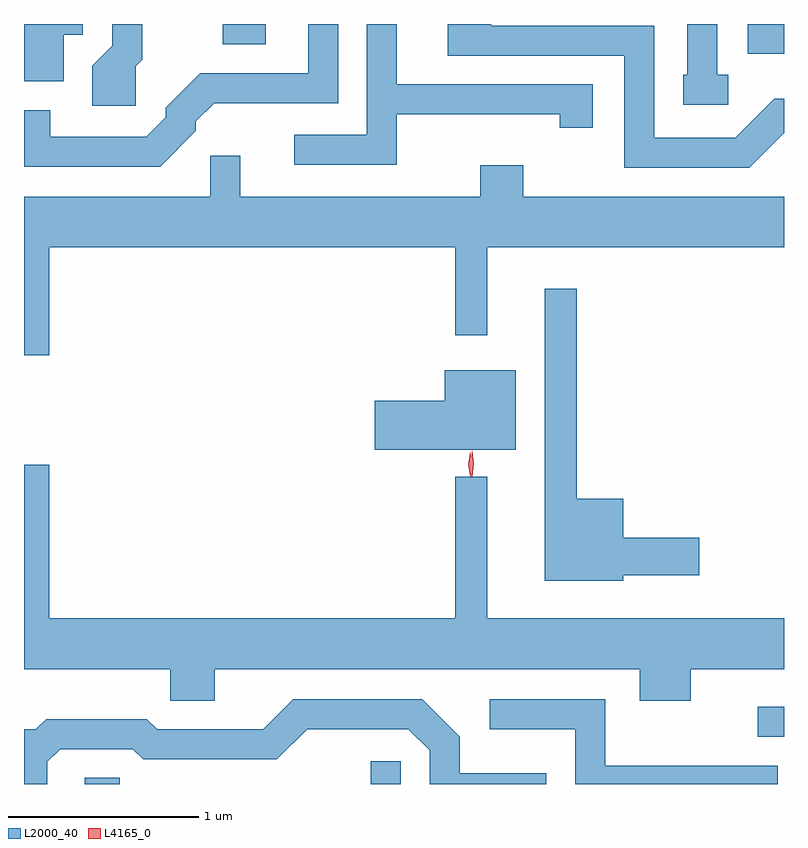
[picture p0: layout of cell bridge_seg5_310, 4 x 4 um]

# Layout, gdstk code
import gdstk
lib = gdstk.Library(unit=1e-6, precision=1e-09)
def R(c, l, rs):  # rectangles x0, y0, x1, y1
    for r in rs: c.add(gdstk.rectangle(r[:2], r[2:], *l))
def P(c, l, *ps):  # polygons
    for p in ps: c.add(gdstk.Polygon(p, *l))
L2000_40 = (2000, 40)
L4165_0 = (4165, 0)

bridge_seg5_310 = lib.new_cell('bridge_seg5_310')
R(bridge_seg5_310, L2000_40, [(678.861,1420.672,679.044,1420.704), (680.366,1420.672,680.524,1420.793), (682.403,1420.921,682.541,1421.079), (682.351,1424.516,682.541,1424.672), (679.586,1424.566,679.814,1424.672)])
P(bridge_seg5_310, L2000_40, [(682.248,1424.404),(682.189,1424.404),(682.189,1424.672),(682.031,1424.672),(682.031,1424.404),(682.011,1424.404),(682.011,1424.246),(682.248,1424.246)],
  [(682.541,1424.1),(682.541,1424.279),(682.489,1424.279),(682.284,1424.074),(681.859,1424.074),(681.859,1424.664),(680.999,1424.664),(680.999,1424.672),(680.771,1424.672),(680.771,1424.506),(681.701,1424.506),(681.701,1423.916),(682.357,1423.916)],
  [(680.504,1424.196),(681.361,1424.196),(681.361,1424.126),(681.534,1424.126),(681.534,1424.354),(680.504,1424.354),(680.504,1424.672),(680.346,1424.672),(680.346,1424.089),(679.963,1424.089),(679.963,1423.931),(680.504,1423.931)],
  [(678.749,1424.616),(678.849,1424.616),(678.849,1424.672),(678.541,1424.672),(678.541,1424.371),(678.749,1424.371)],
  [(679.129,1424.449),(679.164,1424.484),(679.164,1424.672),(679.006,1424.672),(679.006,1424.557),(678.901,1424.452),(678.901,1424.241),(679.129,1424.241)],
  [(679.444,1424.109),(679.444,1424.159),(679.542,1424.256),(680.194,1424.256),(680.194,1424.672),(680.036,1424.672),(680.036,1424.414),(679.469,1424.414),(679.286,1424.232),(679.286,1424.182),(679.184,1424.079),(678.679,1424.079),(678.679,1424.219),(678.541,1424.219),(678.541,1423.921),(679.257,1423.921)],
  [(678.674,1423.496),(680.811,1423.496),(680.811,1423.033),(680.979,1423.033),(680.979,1423.496),(682.541,1423.496),(682.541,1423.764),(681.169,1423.764),(681.169,1423.929),(680.941,1423.929),(680.941,1423.764),(679.679,1423.764),(679.679,1423.978),(679.521,1423.978),(679.521,1423.764),(678.541,1423.764),(678.541,1422.928),(678.674,1422.928)],
  [(681.694,1421.771),(682.094,1421.771),(682.094,1421.969),(681.694,1421.969),(681.694,1422.174),(681.449,1422.174),(681.449,1423.278),(681.281,1423.278),(681.281,1421.741),(681.694,1421.741)],
  [(681.129,1422.849),(680.756,1422.849),(680.756,1422.689),(680.386,1422.689),(680.386,1422.431),(681.129,1422.431)],
  [(679.544,1421.276),(681.781,1421.276),(681.781,1421.111),(682.049,1421.111),(682.049,1421.276),(682.541,1421.276),(682.541,1421.544),(680.979,1421.544),(680.979,1422.288),(680.811,1422.288),(680.811,1421.544),(678.674,1421.544),(678.674,1422.353),(678.541,1422.353),(678.541,1421.276),(679.311,1421.276),(679.311,1421.111),(679.544,1421.111)],
  [(678.664,1420.789),(678.732,1420.856),(679.114,1420.856),(679.169,1420.801),(679.872,1420.801),(680.032,1420.961),(680.564,1420.961),(680.676,1420.849),(680.676,1420.672),(681.289,1420.672),(681.289,1420.729),(680.834,1420.729),(680.834,1420.922),(680.637,1421.119),(679.959,1421.119),(679.799,1420.959),(679.242,1420.959),(679.187,1421.014),(678.659,1421.014),(678.604,1420.959),(678.541,1420.959),(678.541,1420.672),(678.664,1420.672)],
  [(682.509,1420.769),(681.599,1420.769),(681.599,1421.119),(680.993,1421.119),(680.993,1420.961),(681.441,1420.961),(681.441,1420.672),(682.509,1420.672)])
P(bridge_seg5_310, L4165_0, [(680.898,1422.29),(680.898,1422.29),(680.889,1422.358),(680.899,1422.426),(680.9,1422.426),(680.9,1422.426),(680.909,1422.358),(680.899,1422.29)],
  [(680.89,1422.293),(680.88,1422.356),(680.889,1422.419),(680.889,1422.42),(680.89,1422.419),(680.9,1422.356),(680.891,1422.293),(680.891,1422.293)])

lib.write_gds('bridge_seg5_310.gds')
